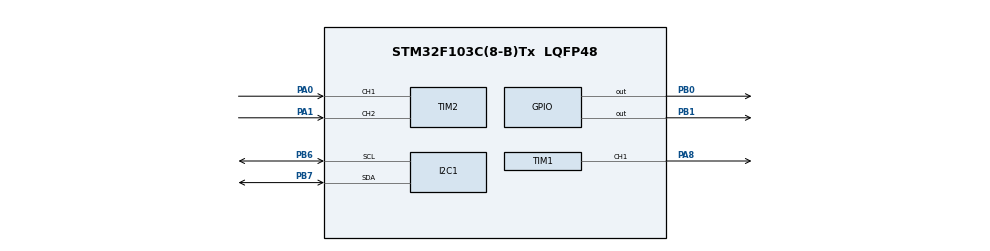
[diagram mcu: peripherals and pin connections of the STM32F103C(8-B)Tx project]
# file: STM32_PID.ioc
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Mcu.Family=STM32F1
Mcu.Name=STM32F103C(8-B)Tx
Mcu.Package=LQFP48
NVIC.PriorityGroup=NVIC_PRIORITYGROUP_4
NVIC.TIM3_IRQn=true\:0\:0\:false\:false\:true\:true\:true\:true
PA0-WKUP.GPIO_PuPd=GPIO_PULLUP
PA0-WKUP.Signal=S_TIM2_CH1_ETR
PA1.GPIO_PuPd=GPIO_PULLUP
PA1.Signal=S_TIM2_CH2
PA13.Mode=Serial_Wire
PA13.Signal=SYS_JTMS-SWDIO
PA14.Mode=Serial_Wire
PA14.Signal=SYS_JTCK-SWCLK
PA8.Signal=S_TIM1_CH1
PB0.Signal=GPIO_Output
PB1.Signal=GPIO_Output
PB6.Mode=I2C
PB6.Signal=I2C1_SCL
PB7.Mode=I2C
PB7.Signal=I2C1_SDA
PD0-OSC_IN.Mode=HSE-External-Oscillator
PD0-OSC_IN.Signal=RCC_OSC_IN
PD1-OSC_OUT.Mode=HSE-External-Oscillator
PD1-OSC_OUT.Signal=RCC_OSC_OUT
ProjectManager.HeapSize=0x200
ProjectManager.StackSize=0x400
ProjectManager.TargetToolchain=MDK-ARM V5.32
RCC.APB1Freq_Value=8000000
RCC.APB2Freq_Value=8000000
RCC.SYSCLKSource=RCC_SYSCLKSOURCE_HSE
SH.S_TIM1_CH1.0=TIM1_CH1,PWM Generation1 CH1
SH.S_TIM2_CH1_ETR.0=TIM2_CH1,Encoder_Interface
SH.S_TIM2_CH2.0=TIM2_CH2,Encoder_Interface
TIM1.Channel-PWM\ Generation1\ CH1=TIM_CHANNEL_1
TIM1.Period=799
TIM1.Prescaler=99
TIM1.Pulse-PWM\ Generation1\ CH1=199
TIM2.EncoderMode=TIM_ENCODERMODE_TI12
TIM3.Period=799
TIM3.Prescaler=99
VP_TIM3_VS_ClockSourceINT.Mode=Internal
board=custom

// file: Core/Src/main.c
/* USER CODE BEGIN Header */
/**
  ******************************************************************************
  * @file           : main.c
  * @brief          : Main program body
  ******************************************************************************
  * @attention
  *
  * Copyright (c) 2024 STMicroelectronics.
  * All rights reserved.
  *
  * This software is licensed under terms that can be found in the LICENSE file
  * in the root directory of this software component.
  * If no LICENSE file comes with this software, it is provided AS-IS.
  *
  ******************************************************************************
  */
/* USER CODE END Header */
#include "main.h"

/* USER CODE BEGIN Includes */
#include <math.h>
#include <stdio.h>
#include <stdlib.h>
//#include <CLCD_I2C.h>
/* USER CODE END Includes */

/* USER CODE BEGIN PTD */
volatile short encoder_2 = 0;
int16_t encoder_1 = 0;
int16_t desire_angle = 1800;
int16_t desire_speed = 0;

int16_t error_angle = 0;
int16_t error_speed = 0;

float Kp = 1;
float Kw = 1;
int16_t set_pwm = 0;
int16_t speed = 0;

char convert[5];
/* USER CODE END PTD */

I2C_HandleTypeDef hi2c1;

TIM_HandleTypeDef htim1;
TIM_HandleTypeDef htim2;
TIM_HandleTypeDef htim3;

/* USER CODE BEGIN PV */
//CLCD_I2C_Name LCD1;
/* USER CODE END PV */

void SystemClock_Config(void);
static void MX_GPIO_Init(void);
static void MX_TIM1_Init(void);
static void MX_TIM2_Init(void);
static void MX_TIM3_Init(void);
static void MX_I2C1_Init(void);

int main(void)
{

  /* MCU Configuration--------------------------------------------------------*/

  /* Reset of all peripherals, Initializes the Flash interface and the Systick. */
  HAL_Init();

  /* Configure the system clock */
  SystemClock_Config();

  /* Initialize all configured peripherals */
  MX_GPIO_Init();
  MX_TIM1_Init();
  MX_TIM2_Init();
  MX_TIM3_Init();
  MX_I2C1_Init();
  /* USER CODE BEGIN 2 */
	HAL_TIM_Encoder_Start(&htim2, TIM_CHANNEL_1 | TIM_CHANNEL_2);
	HAL_TIM_PWM_Start(&htim1, TIM_CHANNEL_1);
	HAL_TIM_Base_Start_IT(&htim3);
	/*
	CLCD_I2C_Init(&LCD1,&hi2c1,0x4e,16,2);
	CLCD_I2C_SetCursor(&LCD1,0,0);
	CLCD_I2C_WriteString(&LCD1,"Desire: ");
	sprintf(convert, "%d", desire_angle);
	CLCD_I2C_SetCursor(&LCD1,0,1);
	CLCD_I2C_WriteString(&LCD1,"Result: ");
	*/
  /* USER CODE END 2 */

  /* Infinite loop */
  while (1)
  {

    /* USER CODE BEGIN 3 */
		/*
		sprintf(convert, "%d", encoder_2);
		CLCD_I2C_SetCursor(&LCD1,9,1);
		CLCD_I2C_WriteString(&LCD1,convert);
		*/
  }
  /* USER CODE END 3 */
}

void SystemClock_Config(void)
{
  RCC_OscInitTypeDef RCC_OscInitStruct = {0};
  RCC_ClkInitTypeDef RCC_ClkInitStruct = {0};

  /** Initializes the RCC Oscillators according to the specified parameters
  * in the RCC_OscInitTypeDef structure.
  */
  RCC_OscInitStruct.OscillatorType = RCC_OSCILLATORTYPE_HSE;
  RCC_OscInitStruct.HSEState = RCC_HSE_ON;
  RCC_OscInitStruct.PLL.PLLState = RCC_PLL_NONE;
  if (HAL_RCC_OscConfig(&RCC_OscInitStruct) != HAL_OK)
  {
    Error_Handler();
  }

  /** Initializes the CPU, AHB and APB buses clocks
  */
  RCC_ClkInitStruct.ClockType = RCC_CLOCKTYPE_HCLK|RCC_CLOCKTYPE_SYSCLK
                              |RCC_CLOCKTYPE_PCLK1|RCC_CLOCKTYPE_PCLK2;
  RCC_ClkInitStruct.SYSCLKSource = RCC_SYSCLKSOURCE_HSE;
  RCC_ClkInitStruct.AHBCLKDivider = RCC_SYSCLK_DIV1;
  RCC_ClkInitStruct.APB1CLKDivider = RCC_HCLK_DIV1;
  RCC_ClkInitStruct.APB2CLKDivider = RCC_HCLK_DIV1;

  if (HAL_RCC_ClockConfig(&RCC_ClkInitStruct, FLASH_LATENCY_0) != HAL_OK)
  {
    Error_Handler();
  }
}

static void MX_I2C1_Init(void)
{

  hi2c1.Instance = I2C1;
  hi2c1.Init.ClockSpeed = 100000;
  hi2c1.Init.DutyCycle = I2C_DUTYCYCLE_2;
  hi2c1.Init.OwnAddress1 = 0;
  hi2c1.Init.AddressingMode = I2C_ADDRESSINGMODE_7BIT;
  hi2c1.Init.DualAddressMode = I2C_DUALADDRESS_DISABLE;
  hi2c1.Init.OwnAddress2 = 0;
  hi2c1.Init.GeneralCallMode = I2C_GENERALCALL_DISABLE;
  hi2c1.Init.NoStretchMode = I2C_NOSTRETCH_DISABLE;
  if (HAL_I2C_Init(&hi2c1) != HAL_OK)
  {
    Error_Handler();
  }

}

static void MX_TIM1_Init(void)
{

  TIM_MasterConfigTypeDef sMasterConfig = {0};
  TIM_OC_InitTypeDef sConfigOC = {0};
  TIM_BreakDeadTimeConfigTypeDef sBreakDeadTimeConfig = {0};

  htim1.Instance = TIM1;
  htim1.Init.Prescaler = 99;
  htim1.Init.CounterMode = TIM_COUNTERMODE_UP;
  htim1.Init.Period = 799;
  htim1.Init.ClockDivision = TIM_CLOCKDIVISION_DIV1;
  htim1.Init.RepetitionCounter = 0;
  htim1.Init.AutoReloadPreload = TIM_AUTORELOAD_PRELOAD_DISABLE;
  if (HAL_TIM_PWM_Init(&htim1) != HAL_OK)
  {
    Error_Handler();
  }
  sMasterConfig.MasterOutputTrigger = TIM_TRGO_RESET;
  sMasterConfig.MasterSlaveMode = TIM_MASTERSLAVEMODE_DISABLE;
  if (HAL_TIMEx_MasterConfigSynchronization(&htim1, &sMasterConfig) != HAL_OK)
  {
    Error_Handler();
  }
  sConfigOC.OCMode = TIM_OCMODE_PWM1;
  sConfigOC.Pulse = 199;
  sConfigOC.OCPolarity = TIM_OCPOLARITY_HIGH;
  sConfigOC.OCNPolarity = TIM_OCNPOLARITY_HIGH;
  sConfigOC.OCFastMode = TIM_OCFAST_DISABLE;
  sConfigOC.OCIdleState = TIM_OCIDLESTATE_RESET;
  sConfigOC.OCNIdleState = TIM_OCNIDLESTATE_RESET;
  if (HAL_TIM_PWM_ConfigChannel(&htim1, &sConfigOC, TIM_CHANNEL_1) != HAL_OK)
  {
    Error_Handler();
  }
  sBreakDeadTimeConfig.OffStateRunMode = TIM_OSSR_DISABLE;
  sBreakDeadTimeConfig.OffStateIDLEMode = TIM_OSSI_DISABLE;
  sBreakDeadTimeConfig.LockLevel = TIM_LOCKLEVEL_OFF;
  sBreakDeadTimeConfig.DeadTime = 0;
  sBreakDeadTimeConfig.BreakState = TIM_BREAK_DISABLE;
  sBreakDeadTimeConfig.BreakPolarity = TIM_BREAKPOLARITY_HIGH;
  sBreakDeadTimeConfig.AutomaticOutput = TIM_AUTOMATICOUTPUT_DISABLE;
  if (HAL_TIMEx_ConfigBreakDeadTime(&htim1, &sBreakDeadTimeConfig) != HAL_OK)
  {
    Error_Handler();
  }
  HAL_TIM_MspPostInit(&htim1);

}

static void MX_TIM2_Init(void)
{

  TIM_Encoder_InitTypeDef sConfig = {0};
  TIM_MasterConfigTypeDef sMasterConfig = {0};

  htim2.Instance = TIM2;
  htim2.Init.Prescaler = 0;
  htim2.Init.CounterMode = TIM_COUNTERMODE_UP;
  htim2.Init.Period = 65535;
  htim2.Init.ClockDivision = TIM_CLOCKDIVISION_DIV1;
  htim2.Init.AutoReloadPreload = TIM_AUTORELOAD_PRELOAD_DISABLE;
  sConfig.EncoderMode = TIM_ENCODERMODE_TI12;
  sConfig.IC1Polarity = TIM_ICPOLARITY_RISING;
  sConfig.IC1Selection = TIM_ICSELECTION_DIRECTTI;
  sConfig.IC1Prescaler = TIM_ICPSC_DIV1;
  sConfig.IC1Filter = 0;
  sConfig.IC2Polarity = TIM_ICPOLARITY_RISING;
  sConfig.IC2Selection = TIM_ICSELECTION_DIRECTTI;
  sConfig.IC2Prescaler = TIM_ICPSC_DIV1;
  sConfig.IC2Filter = 0;
  if (HAL_TIM_Encoder_Init(&htim2, &sConfig) != HAL_OK)
  {
    Error_Handler();
  }
  sMasterConfig.MasterOutputTrigger = TIM_TRGO_RESET;
  sMasterConfig.MasterSlaveMode = TIM_MASTERSLAVEMODE_DISABLE;
  if (HAL_TIMEx_MasterConfigSynchronization(&htim2, &sMasterConfig) != HAL_OK)
  {
    Error_Handler();
  }

}

static void MX_TIM3_Init(void)
{

  TIM_ClockConfigTypeDef sClockSourceConfig = {0};
  TIM_MasterConfigTypeDef sMasterConfig = {0};

  htim3.Instance = TIM3;
  htim3.Init.Prescaler = 99;
  htim3.Init.CounterMode = TIM_COUNTERMODE_UP;
  htim3.Init.Period = 799;
  htim3.Init.ClockDivision = TIM_CLOCKDIVISION_DIV1;
  htim3.Init.AutoReloadPreload = TIM_AUTORELOAD_PRELOAD_DISABLE;
  if (HAL_TIM_Base_Init(&htim3) != HAL_OK)
  {
    Error_Handler();
  }
  sClockSourceConfig.ClockSource = TIM_CLOCKSOURCE_INTERNAL;
  if (HAL_TIM_ConfigClockSource(&htim3, &sClockSourceConfig) != HAL_OK)
  {
    Error_Handler();
  }
  sMasterConfig.MasterOutputTrigger = TIM_TRGO_RESET;
  sMasterConfig.MasterSlaveMode = TIM_MASTERSLAVEMODE_DISABLE;
  if (HAL_TIMEx_MasterConfigSynchronization(&htim3, &sMasterConfig) != HAL_OK)
  {
    Error_Handler();
  }

}

static void MX_GPIO_Init(void)
{
  GPIO_InitTypeDef GPIO_InitStruct = {0};

  /* GPIO Ports Clock Enable */
  __HAL_RCC_GPIOD_CLK_ENABLE();
  __HAL_RCC_GPIOA_CLK_ENABLE();
  __HAL_RCC_GPIOB_CLK_ENABLE();

  /*Configure GPIO pin Output Level */
  HAL_GPIO_WritePin(GPIOB, GPIO_PIN_0|GPIO_PIN_1, GPIO_PIN_RESET);

  /*Configure GPIO pins : PB0 PB1 */
  GPIO_InitStruct.Pin = GPIO_PIN_0|GPIO_PIN_1;
  GPIO_InitStruct.Mode = GPIO_MODE_OUTPUT_PP;
  GPIO_InitStruct.Pull = GPIO_NOPULL;
  GPIO_InitStruct.Speed = GPIO_SPEED_FREQ_LOW;
  HAL_GPIO_Init(GPIOB, &GPIO_InitStruct);

}

/* USER CODE BEGIN 4 */
void HAL_TIM_PeriodElapsedCallback(TIM_HandleTypeDef *htim){
		encoder_2 = __HAL_TIM_GetCounter(&htim2);

//Read data
		speed = (encoder_2 - encoder_1)*100;
		error_angle = desire_angle - encoder_2;
		encoder_1 = encoder_2;

		desire_speed = error_angle*Kp;
		error_speed = desire_speed - speed;

		set_pwm = error_speed*Kw;

		if (set_pwm > 399) set_pwm = 399;
    if (set_pwm < -399) set_pwm = -399;

		if (set_pwm >= 0){
        HAL_GPIO_WritePin(GPIOB, GPIO_PIN_0,1);
				HAL_GPIO_WritePin(GPIOB, GPIO_PIN_1,0);
    }
    else
    {
        HAL_GPIO_WritePin(GPIOB, GPIO_PIN_0,0);
				HAL_GPIO_WritePin(GPIOB, GPIO_PIN_1,1);
    }

		__HAL_TIM_SET_COMPARE(&htim1, TIM_CHANNEL_1, abs(set_pwm));
}
/* USER CODE END 4 */

void Error_Handler(void)
{
  __disable_irq();
  while (1)
  {
  }
}
